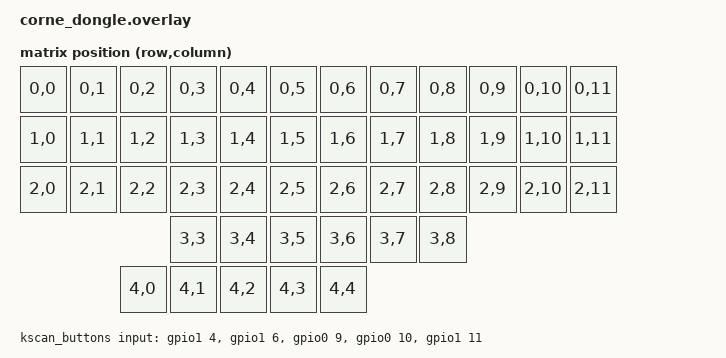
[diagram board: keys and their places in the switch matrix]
/*
 * Corne dongle (nice!nano v2): BLE central for both Corne halves,
 * with a PAW3395 optical sensor and 5 direct-wired buttons.
 *
 * Wiring (pro_micro pin -> nRF pin):
 *   PAW3395 (high-frequency pins)
 *     SCLK   D1  -> P0.06
 *     MOSI   D0  -> P0.08
 *     MISO   D2  -> P0.17
 *     NCS    D3  -> P0.20
 *     MOTION D4  -> P0.22
 *   Buttons (to GND, internal pull-up; low-frequency pins are fine here)
 *     BTN1 D8  -> P1.04
 *     BTN2 D9  -> P1.06
 *     BTN3 D10 -> P0.09 (NFC pin, enabled as GPIO below)
 *     BTN4 D16 -> P0.10 (NFC pin, enabled as GPIO below)
 *     BTN5 D14 -> P1.11
 */

#include <dt-bindings/zmk/matrix_transform.h>
#include <zephyr/dt-bindings/input/input-event-codes.h>

/ {
    chosen {
        zmk,kscan = &kscan_composite;
        zmk,matrix-transform = &dongle_transform;
    };

    /*
     * Positions 0-41 match the stock Corne 6-column transform (the halves
     * compute positions themselves and send them to the dongle).
     * Positions 42-46 are the dongle's own buttons on row 4.
     */
    dongle_transform: keymap_transform_0 {
        compatible = "zmk,matrix-transform";
        columns = <12>;
        rows = <5>;
        map = <
RC(0,0) RC(0,1) RC(0,2) RC(0,3) RC(0,4) RC(0,5)  RC(0,6) RC(0,7) RC(0,8) RC(0,9) RC(0,10) RC(0,11)
RC(1,0) RC(1,1) RC(1,2) RC(1,3) RC(1,4) RC(1,5)  RC(1,6) RC(1,7) RC(1,8) RC(1,9) RC(1,10) RC(1,11)
RC(2,0) RC(2,1) RC(2,2) RC(2,3) RC(2,4) RC(2,5)  RC(2,6) RC(2,7) RC(2,8) RC(2,9) RC(2,10) RC(2,11)
                        RC(3,3) RC(3,4) RC(3,5)  RC(3,6) RC(3,7) RC(3,8)
                RC(4,0) RC(4,1) RC(4,2) RC(4,3) RC(4,4)
        >;
    };

    kscan_buttons: kscan_buttons {
        compatible = "zmk,kscan-gpio-direct";
        wakeup-source;
        input-gpios
            = <&gpio1 4 (GPIO_ACTIVE_LOW | GPIO_PULL_UP)>
            , <&gpio1 6 (GPIO_ACTIVE_LOW | GPIO_PULL_UP)>
            , <&gpio0 9 (GPIO_ACTIVE_LOW | GPIO_PULL_UP)>
            , <&gpio0 10 (GPIO_ACTIVE_LOW | GPIO_PULL_UP)>
            , <&gpio1 11 (GPIO_ACTIVE_LOW | GPIO_PULL_UP)>
            ;
    };

    // Shift the dongle buttons to row 4 so they don't collide with the halves
    kscan_composite: kscan_composite {
        compatible = "zmk,kscan-composite";
        rows = <5>;
        columns = <12>;

        buttons {
            kscan = <&kscan_buttons>;
            row-offset = <4>;
        };
    };

    trackball_listener {
        compatible = "zmk,input-listener";
        device = <&paw3395>;
    };
};

// P0.09 / P0.10 default to NFC antenna pins; use them as plain GPIOs
&uicr {
    nfct-pins-as-gpios;
};

&pinctrl {
    spi2_default: spi2_default {
        group1 {
            psels = <NRF_PSEL(SPIM_SCK, 0, 6)>,
                    <NRF_PSEL(SPIM_MOSI, 0, 8)>,
                    <NRF_PSEL(SPIM_MISO, 0, 17)>;
        };
    };

    spi2_sleep: spi2_sleep {
        group1 {
            psels = <NRF_PSEL(SPIM_SCK, 0, 6)>,
                    <NRF_PSEL(SPIM_MOSI, 0, 8)>,
                    <NRF_PSEL(SPIM_MISO, 0, 17)>;
            low-power-enable;
        };
    };
};

&spi2 {
    compatible = "nordic,nrf-spim";
    status = "okay";
    pinctrl-0 = <&spi2_default>;
    pinctrl-1 = <&spi2_sleep>;
    pinctrl-names = "default", "sleep";
    cs-gpios = <&gpio0 20 GPIO_ACTIVE_LOW>;

    paw3395: paw3395@0 {
        compatible = "pixart,paw3395";
        status = "okay";
        reg = <0>;
        spi-max-frequency = <4000000>;
        irq-gpios = <&gpio0 22 (GPIO_ACTIVE_LOW | GPIO_PULL_UP)>;
        cpi = <800>;
        // swap-xy;
        // invert-x;
        // invert-y;
        evt-type = <INPUT_EV_REL>;
        x-input-code = <INPUT_REL_X>;
        y-input-code = <INPUT_REL_Y>;
    };
};
